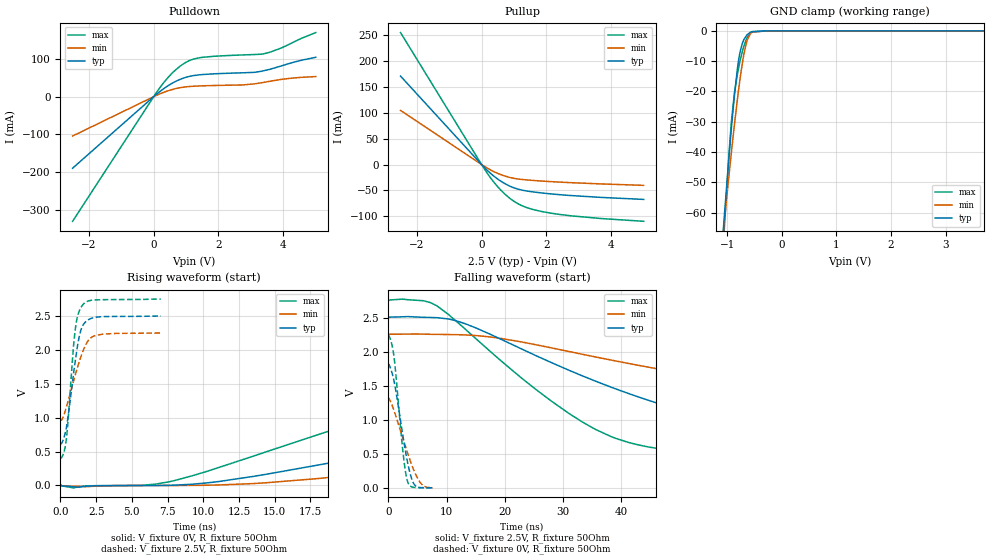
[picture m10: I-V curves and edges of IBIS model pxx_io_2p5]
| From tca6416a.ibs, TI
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|   pxx_io_2p5 Model
[Model]   pxx_io_2p5
Model_type   I/O
Polarity   Non-Inverting
Enable   Active-Low
Vinl = 0.75
Vinh = 1.75
Vmeas = 1.25
Vref = 0
Cref = 50pF
Rref = 50
|   typ   min   max
|   (nom PVT)   (fast PVT)   (slow PVT)
C_comp   2.607e-12   2.492e-12   2.794e-12
[Model spec]
|subparameter
Vinl   0.75   0.675   0.825
Vinh   1.75   1.575   1.925
| Where nom  PVT is Nominal Process, 2.5V, 27C
|   Fast PVT is Strong Process,  2.75V, -40C
|   Slow PVT is Weak Process,   2.25V, 106C
[Voltage Range]   2.5   2.25   2.75
|Junction Temperature
[Temperature Range]   27   106   -40
[Pullup Reference]   2.5   2.25   2.75
[Pulldown Reference]   0   0   0
[Power Clamp Reference]   2.5   2.25   2.75
[GND Clamp Reference]   0   0   0
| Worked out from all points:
|   slope of the pulldown table from 0 to 0.375 V, typ, clamps not added: 14.9 ohm
|   slope of the pullup table from 0 to 0.375 V, typ, clamps not added: 16.8 ohm
|   GND clamp passes 1 mA (typ) near -0.61 V on its own axis
|   falling waveform, V_fixture 2.5V, R_fixture 50Ohm: 20-80 % time 36.4ns typ, 65.7ns min, 21.4ns max; typ from 2.5 V to 0.615 V
|   rising waveform, V_fixture 0V, R_fixture 50Ohm: 20-80 % time 38.5ns typ, 56.1ns min, 23.9ns max; typ from 0 V to 1.8 V
|   rising waveform, V_fixture 2.5V, R_fixture 50Ohm: 20-80 % time 730ps typ, 1.09ns min, 522ps max; typ from 0.615 V to 2.5 V
|   falling waveform, V_fixture 0V, R_fixture 50Ohm: 20-80 % time 2.09ns typ, 3.04ns min, 1.46ns max; typ from 1.81 V to 0.002 V
[Pulldown]
|   Voltage   I(typ)   I(min)   I(max)
-2.5V     -189.6mA   -104.3mA   -330.4mA
87.5mV    6.463mA    3.541mA    11.27mA
422.8mV   27.91mA    15mA       48.78mA
802.5mV   45.41mA    23.63mA    79.96mA
1.095V    53.64mA    26.92mA    95.43mA
1.408V    57.89mA    28.42mA    103.1mA
2.752V    63.3mA     31.14mA    110.7mA
3.1V      64.53mA    33.89mA    111.8mA
3.396V    68.73mA    37.92mA    113.7mA
3.929V    81.28mA    45.68mA    128.8mA
4.418V    93.56mA    50.36mA    149mA
5V        104.5mA    53.35mA    170mA
[GND Clamp]
|   Voltage   I(typ)   I(min)   I(max)
-2.5V     -469.1mA   -378.1mA   -600mA
-1.065V   -63.96mA   -65.15mA   -68.87mA
-1.056V   -61.82mA   -63.49mA   -66.08mA
-1.045V   -59.33mA   -61.56mA   -62.85mA
-973.8mV  -43.01mA   -48.78mA   -42.27mA
-918.7mV  -31.24mA   -39.34mA   -29.14mA
-866.5mV  -21.11mA   -30.81mA   -20.42mA
-811.5mV  -12.28mA   -22.4mA    -14.18mA
-756.2mV  -6.337mA   -14.78mA   -9.281mA
-693.3mV  -2.86mA    -7.582mA   -4.944mA
-575mV    -478.6uA   -907.9uA   -772.9uA
5V        0A         0A         0A
[Pullup]
|   Voltage   I(typ)   I(min)   I(max)
-2.5V     171.1mA    104.7mA    255.3mA
112.5mV   -7.39mA    -4.519mA   -11.08mA
323.7mV   -19.63mA   -11.97mA   -29.73mA
500mV     -28.25mA   -17.16mA   -43.16mA
875mV     -41.92mA   -25.07mA   -65.54mA
1.138V    -47.86mA   -28.14mA   -76.38mA
1.424V    -51.52mA   -29.96mA   -84.01mA
2.112V    -56.7mA    -32.99mA   -93.86mA
3.699V    -63.67mA   -37.57mA   -104.6mA
5V        -67.51mA   -40.32mA   -109.9mA
[POWER Clamp]
|   Voltage   I(typ)   I(min)   I(max)
-2.5V     0A         0A         0A
0V        0A         0A         0A
5V        0A         0A         0A
[Ramp]
R_load = 50
|   typ   min   max
dV/dt_r   1.08311/3.83726e-08   0.780696/5.60671e-08   1.33777/2.37875e-08
dV/dt_f   1.13078/3.63759e-08   0.767288/6.53654e-08   1.40761/2.13979e-08
[Falling Waveform]
V_fixture = 2.5V
V_fixture_min = 2.25V
V_fixture_max = 2.75V
R_fixture = 50Ohm
|   Time   V(typ)   V(min)   V(max)
0s        2.5V       2.25V      2.75V
8.26ns    2.498V     2.253V     2.675V
13.46ns   2.401V     2.244V     2.31V
25.12ns   1.949V     2.104V     1.459V
35.52ns   1.568V     1.922V     860mV
49.5ns    1.158V     1.698V     543.5mV
66.28ns   855.1mV    1.482V     457.9mV
92.98ns   694mV      1.251V     419.6mV
142.1ns   629.9mV    1.056V     406mV
250ns     615.4mV    971.2mV    404mV
[Rising Waveform]
V_fixture = 0V
V_fixture_min = 0V
V_fixture_max = 0V
R_fixture = 50Ohm
|   Time   V(typ)   V(min)   V(max)
0s        1.041nV    17.5nV     509pV
7.9ns     3.174mV    -1.182mV   67.12mV
13.46ns   131.9mV    26.84mV    429.1mV
24.38ns   543.9mV    234.1mV    1.157V
35.54ns   925.1mV    462.1mV    1.712V
43.56ns   1.148V     605.8mV    1.954V
53.24ns   1.361V     752.7mV    2.084V
74.56ns   1.631V     985.5mV    2.182V
116.8ns   1.768V     1.204V     2.222V
250ns     1.805V     1.301V     2.23V
[Rising Waveform]
V_fixture = 2.5V
V_fixture_min = 2.25V
V_fixture_max = 2.75V
R_fixture = 50Ohm
|   Time   V(typ)   V(min)   V(max)
0s        614.8mV    961.8mV    404mV
380ps     817.1mV    1.13V      629.7mV
500ps     965.6mV    1.219V     868mV
920ps     1.656V     1.543V     2.068V
1.02ns    1.811V     1.618V     2.273V
1.2ns     2.067V     1.747V     2.498V
1.48ns    2.322V     1.928V     2.642V
1.94ns    2.444V     2.137V     2.721V
2.5ns     2.484V     2.215V     2.739V
7.021ns   2.499V     2.249V     2.75V
[Falling Waveform]
V_fixture = 0V
V_fixture_min = 0V
V_fixture_max = 0V
R_fixture = 50Ohm
|   Time   V(typ)   V(min)   V(max)
0s        1.806V     1.304V     2.23V
520ps     1.719V     1.24V      2.133V
960ps     1.573V     1.137V     1.93V
2.44ns    795.5mV    739.9mV    579.3mV
2.9ns     557.4mV    615.5mV    260.2mV
3.3ns     374.1mV    511.1mV    92.75mV
4.06ns    117.9mV    326.4mV    12.6mV
4.64ns    31.25mV    205.6mV    4.903mV
6.06ns    3.304mV    30.04mV    3.148mV
7.65ns    2.138mV    708uV      2.549mV
